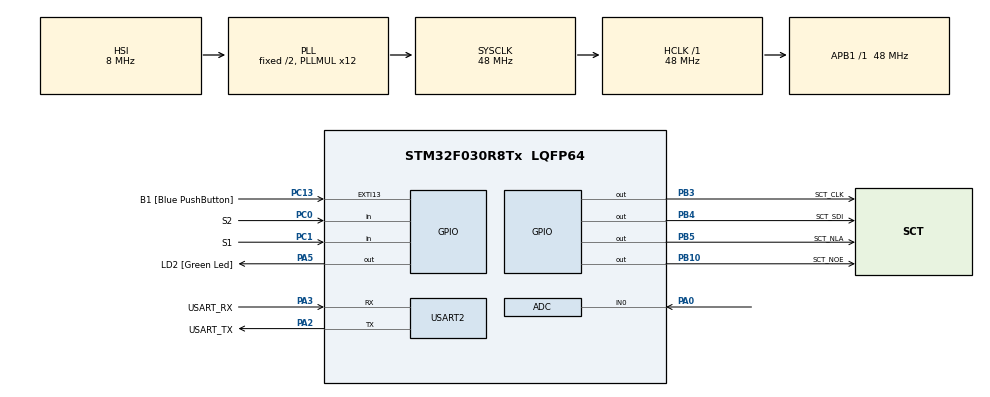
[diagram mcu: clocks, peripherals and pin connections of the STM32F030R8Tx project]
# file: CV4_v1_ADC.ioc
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ADC.ContinuousConvMode=ENABLE
ADC.Overrun=ADC_OVR_DATA_OVERWRITTEN
ADC.SamplingTime=ADC_SAMPLETIME_239CYCLES_5
Mcu.Family=STM32F0
Mcu.Name=STM32F030R8Tx
Mcu.Package=LQFP64
NVIC.ADC1_IRQn=true\:0\:0\:false\:false\:true\:true\:true\:true
PA0.Mode=IN0
PA0.Signal=ADC_IN0
PA13.GPIO_Label=TMS
PA13.Mode=Serial_Wire
PA13.Signal=SYS_SWDIO
PA14.GPIO_Label=TCK
PA14.Mode=Serial_Wire
PA14.Signal=SYS_SWCLK
PA2.GPIO_Label=USART_TX
PA2.GPIO_Mode=GPIO_MODE_AF_PP
PA2.GPIO_PuPd=GPIO_NOPULL
PA2.GPIO_Speed=GPIO_SPEED_FREQ_LOW
PA2.Mode=Asynchronous
PA2.Signal=USART2_TX
PA3.GPIO_Label=USART_RX
PA3.GPIO_Mode=GPIO_MODE_AF_PP
PA3.GPIO_PuPd=GPIO_NOPULL
PA3.GPIO_Speed=GPIO_SPEED_FREQ_LOW
PA3.Mode=Asynchronous
PA3.Signal=USART2_RX
PA5.GPIO_Label=LD2 [Green Led]
PA5.GPIO_Mode=GPIO_MODE_OUTPUT_PP
PA5.GPIO_PuPd=GPIO_NOPULL
PA5.GPIO_Speed=GPIO_SPEED_FREQ_LOW
PA5.Signal=GPIO_Output
PB10.GPIO_Label=SCT_NOE
PB10.Signal=GPIO_Output
PB3.GPIO_Label=SCT_CLK
PB3.Signal=GPIO_Output
PB4.GPIO_Label=SCT_SDI
PB4.Signal=GPIO_Output
PB5.GPIO_Label=SCT_NLA
PB5.Signal=GPIO_Output
PC0.GPIO_Label=S2
PC0.GPIO_PuPd=GPIO_PULLUP
PC0.Signal=GPIO_Input
PC1.GPIO_Label=S1
PC1.GPIO_PuPd=GPIO_PULLUP
PC1.Signal=GPIO_Input
PC13.GPIO_Label=B1 [Blue PushButton]
PC13.GPIO_ModeDefaultEXTI=GPIO_MODE_IT_FALLING
PC13.Signal=GPXTI13
PC14-OSC32_IN.Mode=LSE-External-Oscillator
PC14-OSC32_IN.Signal=RCC_OSC32_IN
PC15-OSC32_OUT.Mode=LSE-External-Oscillator
PC15-OSC32_OUT.Signal=RCC_OSC32_OUT
PF0-OSC_IN.Mode=HSE-External-Clock-Source
PF0-OSC_IN.Signal=RCC_OSC_IN
PF1-OSC_OUT.Signal=RCC_OSC_OUT
ProjectManager.HeapSize=0x200
ProjectManager.StackSize=0x400
ProjectManager.TargetToolchain=STM32CubeIDE
RCC.AHBFreq_Value=48000000
RCC.APB1Freq_Value=48000000
RCC.APB1TimFreq_Value=48000000
RCC.HCLKFreq_Value=48000000
RCC.PLLMUL=RCC_PLL_MUL12
RCC.SYSCLKFreq_VALUE=48000000
RCC.SYSCLKSource=RCC_SYSCLKSOURCE_PLLCLK
USART2.VirtualMode-Asynchronous=VM_ASYNC
VP_ADC_TempSens_Input.Mode=IN-TempSens
VP_ADC_Vref_Input.Mode=IN-Vrefint
board=NUCLEO-F030R8

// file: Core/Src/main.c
/* USER CODE BEGIN Header */
/**
  ******************************************************************************
  * @file           : main.c
  * @brief          : Main program body
  ******************************************************************************
  * @attention
  *
  * Copyright (c) 2023 STMicroelectronics.
  * All rights reserved.
  *
  * This software is licensed under terms that can be found in the LICENSE file
  * in the root directory of this software component.
  * If no LICENSE file comes with this software, it is provided AS-IS.
  *
  ******************************************************************************
  */
/* USER CODE END Header */
#include "main.h"

/* USER CODE BEGIN Includes */
#include "sct.h"

/* USER CODE END Includes */

ADC_HandleTypeDef hadc;

UART_HandleTypeDef huart2;

void SystemClock_Config(void);
static void MX_GPIO_Init(void);
static void MX_USART2_UART_Init(void);
static void MX_ADC_Init(void);

/* USER CODE BEGIN 0 */
#define ADC_Q 12
static volatile uint32_t raw_pot;
static uint32_t avg_pot;
static volatile uint32_t raw_temp;
static volatile uint32_t raw_volt;

void HAL_ADC_ConvCpltCallback(ADC_HandleTypeDef* hadc)
{
	static uint8_t channel;
	//NEW
	if (channel == 0) {
		raw_pot = avg_pot >> ADC_Q;
		avg_pot -= raw_pot;
		avg_pot += HAL_ADC_GetValue(hadc);
	} else if (channel == 1) {
		raw_volt = HAL_ADC_GetValue(hadc);
	} else if (channel == 2) {
		raw_temp = HAL_ADC_GetValue(hadc);
	}

    if (__HAL_ADC_GET_FLAG(hadc, ADC_FLAG_EOS)) channel = 0;
    else channel++;
}

/* USER CODE END 0 */

int main(void)
{

  /* MCU Configuration--------------------------------------------------------*/

  /* Reset of all peripherals, Initializes the Flash interface and the Systick. */
  HAL_Init();

  /* Configure the system clock */
  SystemClock_Config();

  /* Initialize all configured peripherals */
  MX_GPIO_Init();
  MX_USART2_UART_Init();
  MX_ADC_Init();
  /* USER CODE BEGIN 2 */

  /* Kalibrace a spousteni ADC */
  HAL_ADCEx_Calibration_Start(&hadc);
  HAL_ADC_Start_IT(&hadc);

  /* USER CODE END 2 */

  /* Infinite loop */
  while (1)
  {
	  /* Temperature sensor calibration value address */
	  #define TEMP110_CAL_ADDR ((uint16_t*) ((uint32_t) 0x1FFFF7C2))
	  #define TEMP30_CAL_ADDR ((uint16_t*) ((uint32_t) 0x1FFFF7B8))

	  static enum { SHOW_POT, SHOW_VOLT, SHOW_TEMP } state = SHOW_POT;

	  switch (state){
	  case SHOW_POT:
		  sct_value(raw_pot * (500+1) / 4096, raw_pot * 8 / 4096);
		  HAL_Delay(50);
		  break;
	  case SHOW_VOLT:
		  /* Internal voltage reference calibration value address */
		  #define VREFINT_CAL_ADDR ((uint16_t*) ((uint32_t) 0x1FFFF7BA))
		  uint32_t voltage = 330 * (*VREFINT_CAL_ADDR) / raw_volt;
		  sct_value(voltage * (500+1) / 4096, voltage * 8 / 4096);
		  HAL_Delay(1000);
		  state = SHOW_POT;
		  break;
	  case SHOW_TEMP:
		  int32_t temperature = (raw_temp - (int32_t)(*TEMP30_CAL_ADDR));
		  temperature = temperature * (int32_t)(110 - 30);
		  temperature = temperature / (int32_t)(*TEMP110_CAL_ADDR - *TEMP30_CAL_ADDR);
		  temperature = temperature + 30;
		  sct_value(temperature * (500+1) / 4096, temperature * 8 / 4096);
		  HAL_Delay(1000);
		  state = SHOW_POT;
		  break;
	  }

	  if (!HAL_GPIO_ReadPin(S2_GPIO_Port, S2_Pin)){
		  state = SHOW_TEMP;
	  }
	  if (!HAL_GPIO_ReadPin(S1_GPIO_Port, S1_Pin)){
		  state = SHOW_VOLT;
	  }
	  //HAL_GetTick();

  }
}

void SystemClock_Config(void)
{
  RCC_OscInitTypeDef RCC_OscInitStruct = {0};
  RCC_ClkInitTypeDef RCC_ClkInitStruct = {0};

  /** Initializes the RCC Oscillators according to the specified parameters
  * in the RCC_OscInitTypeDef structure.
  */
  RCC_OscInitStruct.OscillatorType = RCC_OSCILLATORTYPE_HSI|RCC_OSCILLATORTYPE_HSI14;
  RCC_OscInitStruct.HSIState = RCC_HSI_ON;
  RCC_OscInitStruct.HSI14State = RCC_HSI14_ON;
  RCC_OscInitStruct.HSICalibrationValue = RCC_HSICALIBRATION_DEFAULT;
  RCC_OscInitStruct.HSI14CalibrationValue = 16;
  RCC_OscInitStruct.PLL.PLLState = RCC_PLL_ON;
  RCC_OscInitStruct.PLL.PLLSource = RCC_PLLSOURCE_HSI;
  RCC_OscInitStruct.PLL.PLLMUL = RCC_PLL_MUL12;
  RCC_OscInitStruct.PLL.PREDIV = RCC_PREDIV_DIV1;
  if (HAL_RCC_OscConfig(&RCC_OscInitStruct) != HAL_OK)
  {
    Error_Handler();
  }

  /** Initializes the CPU, AHB and APB buses clocks
  */
  RCC_ClkInitStruct.ClockType = RCC_CLOCKTYPE_HCLK|RCC_CLOCKTYPE_SYSCLK
                              |RCC_CLOCKTYPE_PCLK1;
  RCC_ClkInitStruct.SYSCLKSource = RCC_SYSCLKSOURCE_PLLCLK;
  RCC_ClkInitStruct.AHBCLKDivider = RCC_SYSCLK_DIV1;
  RCC_ClkInitStruct.APB1CLKDivider = RCC_HCLK_DIV1;

  if (HAL_RCC_ClockConfig(&RCC_ClkInitStruct, FLASH_LATENCY_1) != HAL_OK)
  {
    Error_Handler();
  }
}

static void MX_ADC_Init(void)
{

  ADC_ChannelConfTypeDef sConfig = {0};

  /** Configure the global features of the ADC (Clock, Resolution, Data Alignment and number of conversion)
  */
  hadc.Instance = ADC1;
  hadc.Init.ClockPrescaler = ADC_CLOCK_ASYNC_DIV1;
  hadc.Init.Resolution = ADC_RESOLUTION_12B;
  hadc.Init.DataAlign = ADC_DATAALIGN_RIGHT;
  hadc.Init.ScanConvMode = ADC_SCAN_DIRECTION_FORWARD;
  hadc.Init.EOCSelection = ADC_EOC_SINGLE_CONV;
  hadc.Init.LowPowerAutoWait = DISABLE;
  hadc.Init.LowPowerAutoPowerOff = DISABLE;
  hadc.Init.ContinuousConvMode = ENABLE;
  hadc.Init.DiscontinuousConvMode = DISABLE;
  hadc.Init.ExternalTrigConv = ADC_SOFTWARE_START;
  hadc.Init.ExternalTrigConvEdge = ADC_EXTERNALTRIGCONVEDGE_NONE;
  hadc.Init.DMAContinuousRequests = DISABLE;
  hadc.Init.Overrun = ADC_OVR_DATA_OVERWRITTEN;
  if (HAL_ADC_Init(&hadc) != HAL_OK)
  {
    Error_Handler();
  }

  /** Configure for the selected ADC regular channel to be converted.
  */
  sConfig.Channel = ADC_CHANNEL_0;
  sConfig.Rank = ADC_RANK_CHANNEL_NUMBER;
  sConfig.SamplingTime = ADC_SAMPLETIME_239CYCLES_5;
  if (HAL_ADC_ConfigChannel(&hadc, &sConfig) != HAL_OK)
  {
    Error_Handler();
  }

  /** Configure for the selected ADC regular channel to be converted.
  */
  sConfig.Channel = ADC_CHANNEL_TEMPSENSOR;
  if (HAL_ADC_ConfigChannel(&hadc, &sConfig) != HAL_OK)
  {
    Error_Handler();
  }

  /** Configure for the selected ADC regular channel to be converted.
  */
  sConfig.Channel = ADC_CHANNEL_VREFINT;
  if (HAL_ADC_ConfigChannel(&hadc, &sConfig) != HAL_OK)
  {
    Error_Handler();
  }

}

static void MX_USART2_UART_Init(void)
{

  huart2.Instance = USART2;
  huart2.Init.BaudRate = 38400;
  huart2.Init.WordLength = UART_WORDLENGTH_8B;
  huart2.Init.StopBits = UART_STOPBITS_1;
  huart2.Init.Parity = UART_PARITY_NONE;
  huart2.Init.Mode = UART_MODE_TX_RX;
  huart2.Init.HwFlowCtl = UART_HWCONTROL_NONE;
  huart2.Init.OverSampling = UART_OVERSAMPLING_16;
  huart2.Init.OneBitSampling = UART_ONE_BIT_SAMPLE_DISABLE;
  huart2.AdvancedInit.AdvFeatureInit = UART_ADVFEATURE_NO_INIT;
  if (HAL_UART_Init(&huart2) != HAL_OK)
  {
    Error_Handler();
  }

}

static void MX_GPIO_Init(void)
{
  GPIO_InitTypeDef GPIO_InitStruct = {0};

  /* GPIO Ports Clock Enable */
  __HAL_RCC_GPIOC_CLK_ENABLE();
  __HAL_RCC_GPIOF_CLK_ENABLE();
  __HAL_RCC_GPIOA_CLK_ENABLE();
  __HAL_RCC_GPIOB_CLK_ENABLE();

  /*Configure GPIO pin Output Level */
  HAL_GPIO_WritePin(LD2_GPIO_Port, LD2_Pin, GPIO_PIN_RESET);

  /*Configure GPIO pin Output Level */
  HAL_GPIO_WritePin(GPIOB, SCT_NOE_Pin|SCT_CLK_Pin|SCT_SDI_Pin|SCT_NLA_Pin, GPIO_PIN_RESET);

  /*Configure GPIO pin : B1_Pin */
  GPIO_InitStruct.Pin = B1_Pin;
  GPIO_InitStruct.Mode = GPIO_MODE_IT_FALLING;
  GPIO_InitStruct.Pull = GPIO_NOPULL;
  HAL_GPIO_Init(B1_GPIO_Port, &GPIO_InitStruct);

  /*Configure GPIO pin : S2_Pin */
  GPIO_InitStruct.Pin = S2_Pin;
  GPIO_InitStruct.Mode = GPIO_MODE_INPUT;
  GPIO_InitStruct.Pull = GPIO_PULLUP;
  HAL_GPIO_Init(S2_GPIO_Port, &GPIO_InitStruct);

  /*Configure GPIO pin : S1_Pin */
  GPIO_InitStruct.Pin = S1_Pin;
  GPIO_InitStruct.Mode = GPIO_MODE_IT_RISING;
  GPIO_InitStruct.Pull = GPIO_PULLUP;
  HAL_GPIO_Init(S1_GPIO_Port, &GPIO_InitStruct);

  /*Configure GPIO pin : LD2_Pin */
  GPIO_InitStruct.Pin = LD2_Pin;
  GPIO_InitStruct.Mode = GPIO_MODE_OUTPUT_PP;
  GPIO_InitStruct.Pull = GPIO_NOPULL;
  GPIO_InitStruct.Speed = GPIO_SPEED_FREQ_LOW;
  HAL_GPIO_Init(LD2_GPIO_Port, &GPIO_InitStruct);

  /*Configure GPIO pins : SCT_NOE_Pin SCT_CLK_Pin SCT_SDI_Pin SCT_NLA_Pin */
  GPIO_InitStruct.Pin = SCT_NOE_Pin|SCT_CLK_Pin|SCT_SDI_Pin|SCT_NLA_Pin;
  GPIO_InitStruct.Mode = GPIO_MODE_OUTPUT_PP;
  GPIO_InitStruct.Pull = GPIO_NOPULL;
  GPIO_InitStruct.Speed = GPIO_SPEED_FREQ_LOW;
  HAL_GPIO_Init(GPIOB, &GPIO_InitStruct);

}

void Error_Handler(void)
{
  __disable_irq();
  while (1)
  {
  }
}
